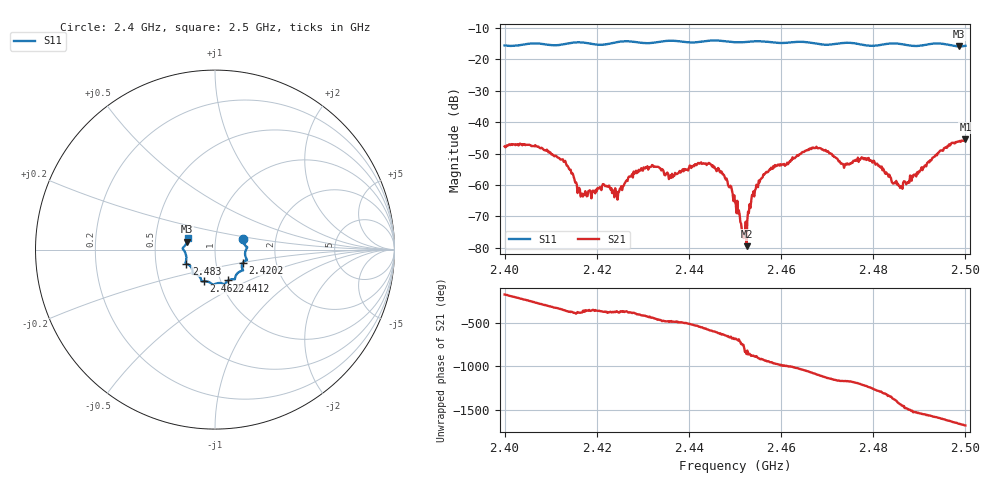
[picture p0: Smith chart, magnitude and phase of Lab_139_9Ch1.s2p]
# Hz S RI R 50
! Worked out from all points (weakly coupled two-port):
!   601 points, 2.4 GHz to 2.5 GHz, reference 50 ohm
!   highest |S21| = -45.43 dB at 2.5 GHz (marker M1); lowest = -79.5 dB at 2.4525 GHz (marker M2)
!   lowest |S11| = -15.8 dB at 2.4987 GHz (marker M3), VSWR 1.39, Z = 36.4 + j3.29 ohm
!   |S11| at or under -10 dB: start of sweep to end of sweep
!   S12 and S22 are empty: the file has one direction only
!   S11 on the Smith chart (normalised r, x): 2.4 GHz: 1.36, +0.17; 2.4202 GHz: 1.35, -0.20; 2.4412 GHz: 1.09, -0.39; 2.4622 GHz: 0.83, -0.30; 2.483 GHz: 0.72, -0.12; 2.5 GHz: 0.73, +0.09
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2.4e9  0.1563 0.0603  -0.00411 -0.000345  0 0  0 0
2.412667e9  0.1698 -0.0377  0.00253 0.000385  0 0  0 0
2.416667e9  0.1777 -0.0582  0.000637 -0.000262  0 0  0 0
2.420167e9  0.1564 -0.0719  0.000892 -3.28e-05  0 0  0 0
2.424333e9  0.1536 -0.1095  0.000777 -8.39e-05  0 0  0 0
2.4285e9  0.1478 -0.1184  0.0014 -0.000961  0 0  0 0
2.433333e9  0.1132 -0.1522  -0.00039 -0.00191  0 0  0 0
2.436167e9  0.1103 -0.1654  -0.000647 -0.00113  0 0  0 0
2.441167e9  0.0751 -0.1715  -0.00196 -0.000424  0 0  0 0
2.446833e9  0.0493 -0.193  -2.64e-05 0.00158  0 0  0 0
2.45e9  0.0267 -0.1862  0.000448 0.000301  0 0  0 0
2.451667e9  0.0102 -0.1879  0.000141 -0.0001  0 0  0 0
2.4525e9  0.00329 -0.1903  -8.03e-05 -6.96e-05  0 0  0 0
2.4535e9  -0.00338 -0.1932  -0.000512 -0.000185  0 0  0 0
2.455667e9  -0.0127 -0.1947  -0.00122 0.000311  0 0  0 0
2.462167e9  -0.0629 -0.1766  0.000682 0.00244  0 0  0 0
2.466667e9  -0.0768 -0.1669  0.0039 0.000501  0 0  0 0
2.483e9  -0.1592 -0.078  -0.000594 0.00139  0 0  0 0
2.483333e9  -0.1607 -0.0773  -0.00032 0.00132  0 0  0 0
2.486e9  -0.1626 -0.0679  0.000953 1.03e-05  0 0  0 0
2.498667e9  -0.1557 0.044  -0.00374 0.00326  0 0  0 0
2.5e9  -0.1526 0.0626  -0.00269 0.00463  0 0  0 0
